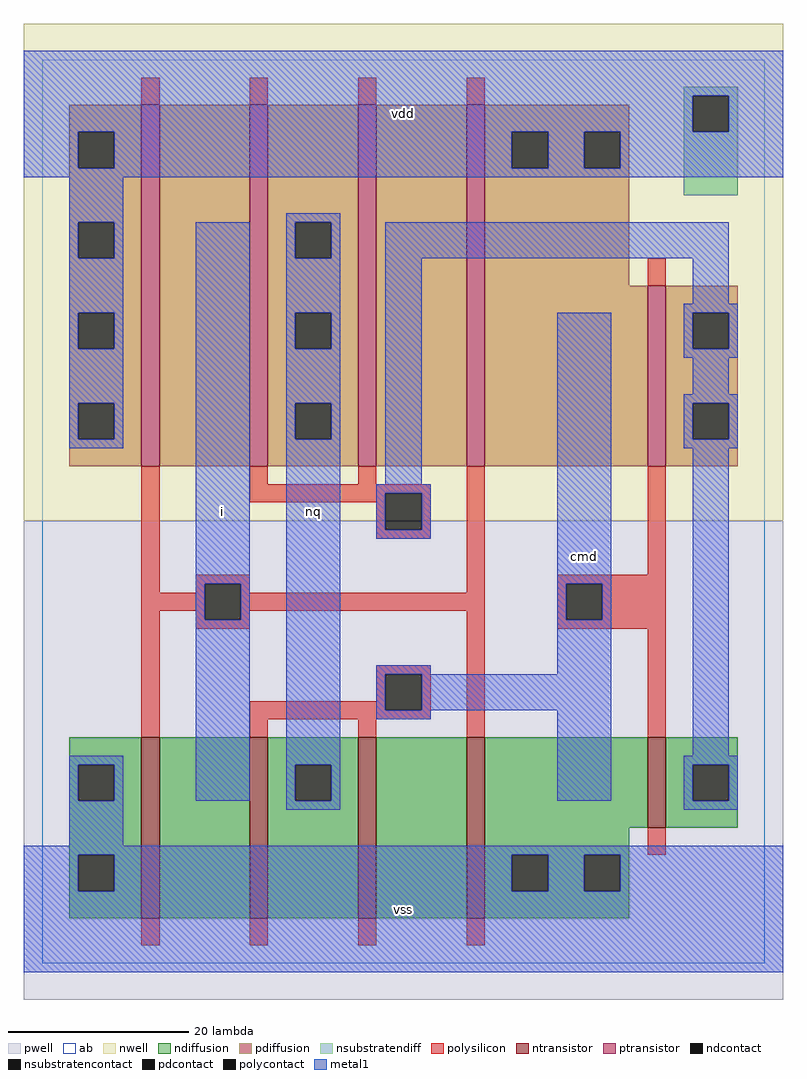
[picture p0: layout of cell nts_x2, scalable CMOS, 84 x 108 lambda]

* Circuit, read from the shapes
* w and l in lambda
.subckt nts_x2 cmd i nq vdd vss
M1 n1 i vss VSUBS nfet w=20 l=2
M2 nq cmd n1 VSUBS nfet w=20 l=2
M3 n2 cmd nq VSUBS nfet w=20 l=2
M4 vss i n2 VSUBS nfet w=20 l=2
M5 n3 cmd vss VSUBS nfet w=10 l=2
M6 n4 i vdd vdd pfet w=40 l=2
M7 nq n3 n4 vdd pfet w=40 l=2
M8 n5 n3 nq vdd pfet w=40 l=2
M9 vdd i n5 vdd pfet w=40 l=2
M10 n3 cmd vdd vdd pfet w=20 l=2
.ends

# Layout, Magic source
magic
tech scmos
<< ab >>
rect 0 0 80 100
<< pwell >>
rect -2 -4 82 49
<< nwell >>
rect -2 49 82 104
<< polysilicon >>
rect 11 95 13 98
rect 23 95 25 98
rect 35 95 37 98
rect 47 95 49 98
rect 67 75 69 78
rect 11 41 13 55
rect 23 53 25 55
rect 35 53 37 55
rect 23 52 43 53
rect 23 51 38 52
rect 37 48 38 51
rect 42 48 43 52
rect 37 47 43 48
rect 17 42 23 43
rect 17 41 18 42
rect 11 39 18 41
rect 11 25 13 39
rect 17 38 18 39
rect 22 41 23 42
rect 47 41 49 55
rect 67 43 69 55
rect 22 39 49 41
rect 22 38 23 39
rect 17 37 23 38
rect 37 32 43 33
rect 37 29 38 32
rect 23 28 38 29
rect 42 28 43 32
rect 23 27 43 28
rect 23 25 25 27
rect 35 25 37 27
rect 47 25 49 39
rect 57 42 69 43
rect 57 38 58 42
rect 62 38 69 42
rect 57 37 69 38
rect 67 25 69 37
rect 67 12 69 15
rect 11 2 13 5
rect 23 2 25 5
rect 35 2 37 5
rect 47 2 49 5
<< ndiffusion >>
rect 3 22 11 25
rect 3 18 4 22
rect 8 18 11 22
rect 3 12 11 18
rect 3 8 4 12
rect 8 8 11 12
rect 3 5 11 8
rect 13 5 23 25
rect 25 22 35 25
rect 25 18 28 22
rect 32 18 35 22
rect 25 5 35 18
rect 37 5 47 25
rect 49 15 67 25
rect 69 22 77 25
rect 69 18 72 22
rect 76 18 77 22
rect 69 15 77 18
rect 49 12 65 15
rect 49 8 52 12
rect 56 8 60 12
rect 64 8 65 12
rect 49 5 65 8
<< pdiffusion >>
rect 3 92 11 95
rect 3 88 4 92
rect 8 88 11 92
rect 3 82 11 88
rect 3 78 4 82
rect 8 78 11 82
rect 3 72 11 78
rect 3 68 4 72
rect 8 68 11 72
rect 3 62 11 68
rect 3 58 4 62
rect 8 58 11 62
rect 3 55 11 58
rect 13 55 23 95
rect 25 82 35 95
rect 25 78 28 82
rect 32 78 35 82
rect 25 72 35 78
rect 25 68 28 72
rect 32 68 35 72
rect 25 62 35 68
rect 25 58 28 62
rect 32 58 35 62
rect 25 55 35 58
rect 37 55 47 95
rect 49 92 65 95
rect 49 88 52 92
rect 56 88 60 92
rect 64 88 65 92
rect 49 75 65 88
rect 49 55 67 75
rect 69 72 77 75
rect 69 68 72 72
rect 76 68 77 72
rect 69 62 77 68
rect 69 58 72 62
rect 76 58 77 62
rect 69 55 77 58
<< metal1 >>
rect -2 96 82 101
rect -2 92 72 96
rect 76 92 82 96
rect -2 88 4 92
rect 8 88 52 92
rect 56 88 60 92
rect 64 88 82 92
rect -2 87 82 88
rect 3 82 9 87
rect 27 82 33 83
rect 3 78 4 82
rect 8 78 9 82
rect 3 72 9 78
rect 3 68 4 72
rect 8 68 9 72
rect 3 62 9 68
rect 3 58 4 62
rect 8 58 9 62
rect 3 57 9 58
rect 17 42 23 82
rect 17 38 18 42
rect 22 38 23 42
rect 3 22 9 23
rect 3 18 4 22
rect 8 18 9 22
rect 17 18 23 38
rect 27 78 28 82
rect 32 78 33 82
rect 27 72 33 78
rect 27 68 28 72
rect 32 68 33 72
rect 27 62 33 68
rect 27 58 28 62
rect 32 58 33 62
rect 27 22 33 58
rect 38 78 76 82
rect 38 53 42 78
rect 72 73 76 78
rect 71 72 77 73
rect 37 52 43 53
rect 37 48 38 52
rect 42 48 43 52
rect 37 47 43 48
rect 57 42 63 72
rect 71 68 72 72
rect 76 68 77 72
rect 71 67 77 68
rect 72 63 76 67
rect 71 62 77 63
rect 71 58 72 62
rect 76 58 77 62
rect 71 57 77 58
rect 57 38 58 42
rect 62 38 63 42
rect 37 32 43 33
rect 57 32 63 38
rect 37 28 38 32
rect 42 28 63 32
rect 37 27 43 28
rect 27 18 28 22
rect 32 18 33 22
rect 57 18 63 28
rect 72 23 76 57
rect 71 22 77 23
rect 71 18 72 22
rect 76 18 77 22
rect 3 13 9 18
rect 27 17 33 18
rect 71 17 77 18
rect -2 12 82 13
rect -2 8 4 12
rect 8 8 52 12
rect 56 8 60 12
rect 64 8 82 12
rect -2 -1 82 8
<< ntransistor >>
rect 11 5 13 25
rect 23 5 25 25
rect 35 5 37 25
rect 47 5 49 25
rect 67 15 69 25
<< ptransistor >>
rect 11 55 13 95
rect 23 55 25 95
rect 35 55 37 95
rect 47 55 49 95
rect 67 55 69 75
<< polycontact >>
rect 38 48 42 52
rect 18 38 22 42
rect 38 28 42 32
rect 58 38 62 42
<< ndcontact >>
rect 4 18 8 22
rect 4 8 8 12
rect 28 18 32 22
rect 72 18 76 22
rect 52 8 56 12
rect 60 8 64 12
<< pdcontact >>
rect 4 88 8 92
rect 4 78 8 82
rect 4 68 8 72
rect 4 58 8 62
rect 28 78 32 82
rect 28 68 32 72
rect 28 58 32 62
rect 52 88 56 92
rect 60 88 64 92
rect 72 68 76 72
rect 72 58 76 62
<< nsubstratencontact >>
rect 72 92 76 96
<< nsubstratendiff >>
rect 71 96 77 97
rect 71 92 72 96
rect 76 92 77 96
rect 71 85 77 92
<< labels >>
rlabel metal1 30 50 30 50 6 nq
rlabel metal1 30 50 30 50 6 nq
rlabel metal1 20 50 20 50 6 i
rlabel metal1 20 50 20 50 6 i
rlabel metal1 40 6 40 6 6 vss
rlabel metal1 40 6 40 6 6 vss
rlabel metal1 60 45 60 45 6 cmd
rlabel metal1 60 45 60 45 6 cmd
rlabel metal1 40 94 40 94 6 vdd
rlabel metal1 40 94 40 94 6 vdd
<< end >>
